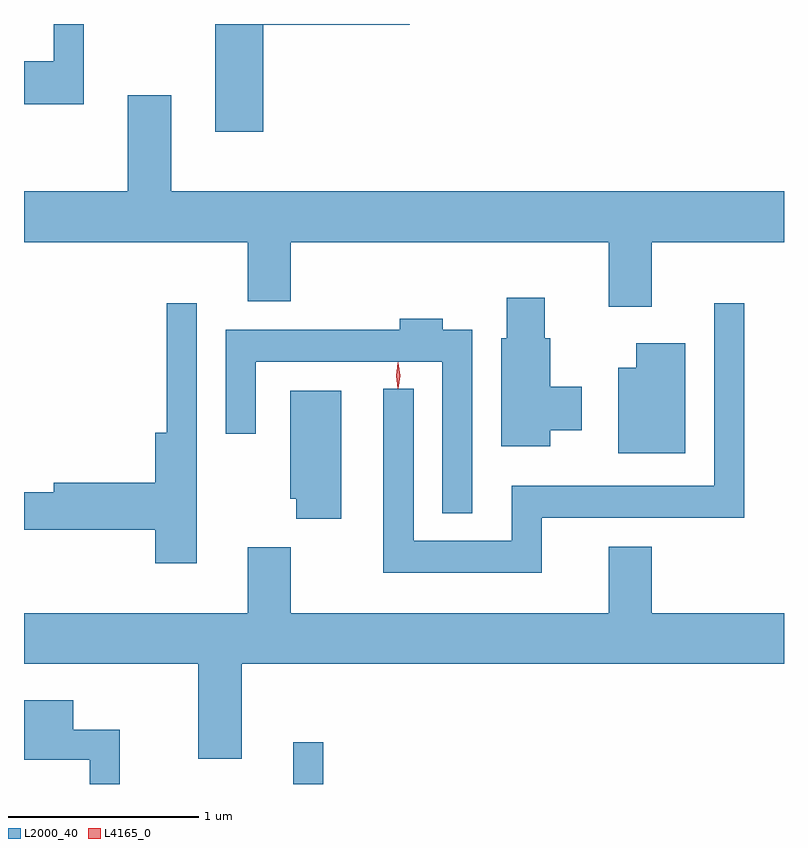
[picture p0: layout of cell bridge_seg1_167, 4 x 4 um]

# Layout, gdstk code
import gdstk
lib = gdstk.Library(unit=1e-6, precision=1e-09)
def R(c, l, rs):  # rectangles x0, y0, x1, y1
    for r in rs: c.add(gdstk.rectangle(r[:2], r[2:], *l))
def P(c, l, *ps):  # polygons
    for p in ps: c.add(gdstk.Polygon(p, *l))
L2000_40 = (2000, 40)
L4165_0 = (4165, 0)

bridge_seg1_167 = lib.new_cell('bridge_seg1_167')
R(bridge_seg1_167, L2000_40, [(782.121,945.564,782.279,945.783)])
P(bridge_seg1_167, L2000_40, [(781.019,949.564),(780.861,949.564),(780.861,949.369),(780.704,949.369),(780.704,949.141),(781.019,949.141)],
  [(781.964,949.561),(782.734,949.561),(782.734,949.564),(781.711,949.564),(781.711,948.996),(781.964,948.996)],
  [(784.009,948.416),(784.704,948.416),(784.704,948.684),(781.479,948.684),(781.479,949.189),(781.251,949.189),(781.251,948.684),(780.704,948.684),(780.704,948.416),(781.881,948.416),(781.881,948.106),(782.109,948.106),(782.109,948.416),(783.781,948.416),(783.781,948.076),(784.009,948.076)],
  [(783.474,947.426),(783.639,947.426),(783.639,947.654),(783.474,947.654),(783.474,947.909),(783.444,947.909),(783.444,948.124),(783.246,948.124),(783.246,947.909),(783.216,947.909),(783.216,947.341),(783.474,947.341)],
  [(783.429,946.966),(784.494,946.966),(784.494,948.093),(784.336,948.093),(784.336,947.134),(783.271,947.134),(783.271,946.844),(782.754,946.844),(782.754,947.643),(782.596,947.643),(782.596,946.676),(783.429,946.676)],
  [(781.614,948.093),(781.456,948.093),(781.456,947.414),(781.396,947.414),(781.396,947.149),(780.861,947.149),(780.861,947.099),(780.704,947.099),(780.704,946.901),(781.396,946.901),(781.396,946.726),(781.614,946.726)],
  [(783.064,947.954),(782.909,947.954),(782.909,948.014),(782.681,948.014),(782.681,947.954),(781.766,947.954),(781.766,947.408),(781.924,947.408),(781.924,947.786),(782.906,947.786),(782.906,946.988),(783.064,946.988)],
  [(784.184,947.884),(783.926,947.884),(783.926,947.754),(783.831,947.754),(783.831,947.306),(784.184,947.306)],
  [(782.374,947.634),(782.106,947.634),(782.106,947.066),(782.136,947.066),(782.136,946.961),(782.374,946.961)],
  [(781.849,946.196),(784.704,946.196),(784.704,946.464),(784.009,946.464),(784.009,946.814),(783.781,946.814),(783.781,946.464),(782.109,946.464),(782.109,946.809),(781.881,946.809),(781.881,946.464),(780.704,946.464),(780.704,946.196),(781.621,946.196),(781.621,945.696),(781.849,945.696)],
  [(781.209,945.849),(780.964,945.849),(780.964,946.004),(780.704,946.004),(780.704,945.691),(781.051,945.691),(781.051,945.564),(781.209,945.564)])
P(bridge_seg1_167, L4165_0, [(782.673,947.643),(782.672,947.644),(782.663,947.713),(782.672,947.782),(782.673,947.783),(782.673,947.782),(782.683,947.713),(782.673,947.644)],
  [(782.673,947.647),(782.673,947.647),(782.663,947.714),(782.672,947.78),(782.673,947.78),(782.673,947.78),(782.683,947.714),(782.674,947.647)])

lib.write_gds('bridge_seg1_167.gds')
